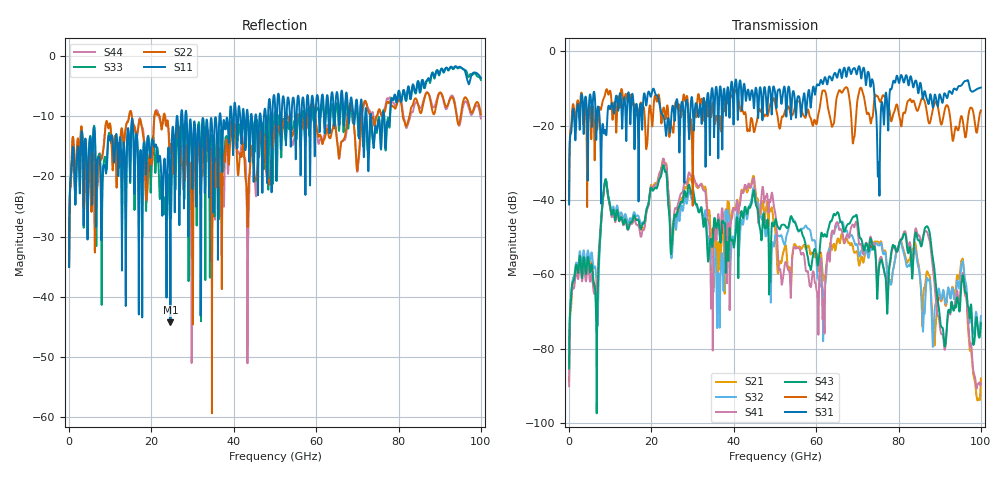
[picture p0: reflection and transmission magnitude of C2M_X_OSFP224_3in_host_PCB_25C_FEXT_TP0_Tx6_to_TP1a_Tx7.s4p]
# GHz S RI R 45
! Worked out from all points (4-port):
!   4000 points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, 25 MHz to 100 GHz, reference 45 ohm
!   strongest paths, dB at 25 MHz, 25.02 GHz, 50.02 GHz, 75.03 GHz, 100 GHz:
!     S31: -41.2, -15.3, -11.0, -33.0, -9.8
!     S42: -40.1, -20.6, -13.9, -12.3, -15.9
!     S43: -85.3, -51.2, -45.7, -62.1, -73.1
!     S41: -90.1, -48.5, -43.2, -60.6, -89.3
!     S32: -87.2, -54.7, -49.8, -52.2, -71.2
!     S21: -88.7, -51.9, -47.4, -51.2, -88.0
!   lowest |S11| = -44.2 dB at 24.62 GHz (marker M1), VSWR 1.01, Z = 45.5 - j0.292 ohm
!   |S11| at or under -10 dB: start of sweep to 26.2 GHz; 28.55 GHz to 36.54 GHz (7.982 GHz wide, 24.5 % of centre); 73.35 GHz to 76.13 GHz (2.776 GHz wide, 3.71 % of centre)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
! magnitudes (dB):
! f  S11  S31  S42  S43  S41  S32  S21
! 25 MHz  -35.0  -41.2  -40.1  -85.3  -90.1  -87.2  -88.7
! 6.625 GHz  -27.4  -23.5  -18.7  -75.3  -64.3  -61.2  -66.7
! 8.825 GHz  -18.9  -21.3  -11.2  -34.6  -34.8  -34.5  -34.7
! 24.62 GHz  -44.2  -21.4  -19.8  -51.8  -48.4  -50.2  -48.3
! 86.67 GHz  -4.3  -12.1  -15.0  -47.2  -48.4  -63.5  -60.8
! 91.08 GHz  -2.6  -11.4  -16.4  -78.2  -79.5  -65.3  -65.9
! 100 GHz  -3.6  -9.8  -15.9  -73.1  -89.3  -71.2  -88.0
